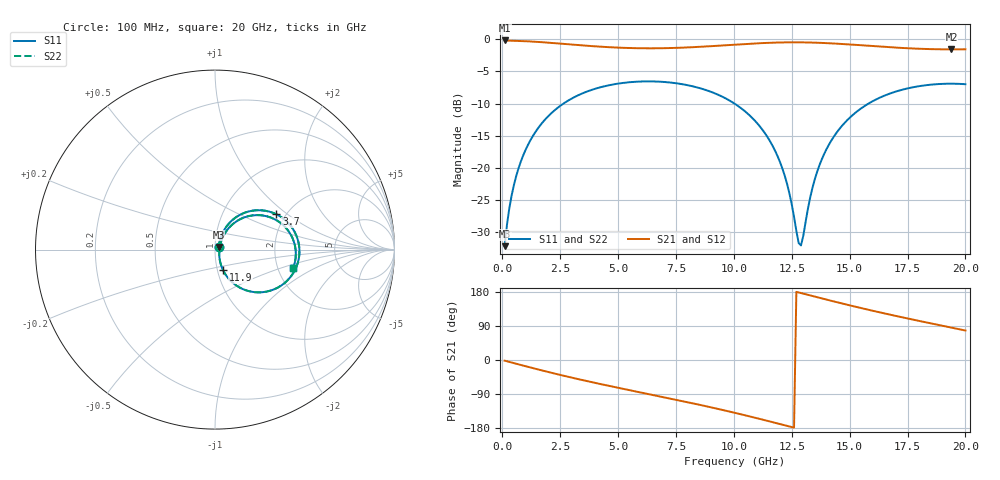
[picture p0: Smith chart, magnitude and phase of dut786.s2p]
! Touchstone file exported from HFSS 2026.1.0
!  File:  C:/ffzhzh/LocalFiles/Ansys_Project_Files/temp_train_TSV_RDL_786_1783260752_38704.aedt
!  Generated:  10:26:49 PM Jul  5, 2026
!  Design:  TSV_RDL
!  Project:  temp_train_TSV_RDL_786_1783260752_38704
! Variables:
!  h_bsmrdl = 5.27um
!  h_ox = 20um
!  h_rdl = 5um
!  h_sub = 80.8um
!  h_tmrdl = 4.65um
!  h_tsv = 80.8um
!  h_via = 3um
!  l_bsmrdl = 353.88um
!  l_sub = 4825.46um
!  l_tmrdl = 806.74um
!  m_sub = 200um
!  pitch = 44.85um
!  r_tsv = 3.45um
!  s_tmrdl = 10um
!  w_bsmrdl = 19.35um
!  w_sub = 500um
!  w_tmrdl = 26.27um
!  x_tsv_center1 = 819.875um
!  x_tsv_center2 = 1193.105um
!  x_tsv_center3 = 2026.115um
!  x_tsv_center4 = 2399.345um
!  x_tsv_center5 = 3232.355um
!  x_tsv_center6 = 3605.585um
# GHz S MA R 50.000000
! Terminal data exported
! Port[1] = TM_RDL1_1_T1
! Port[2] = TM_RDL5_1_T1
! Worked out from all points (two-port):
!   200 points, 100 MHz to 20 GHz, reference 50 ohm
!   highest |S21| = -0.17 dB at 100 MHz (marker M1); lowest = -1.6 dB at 19.4 GHz (marker M2)
!   |S21| within 3 dB of the highest: start of sweep to end of sweep
!   lowest |S11| = -32.2 dB at 100 MHz (marker M3), VSWR 1.05, Z = 52 + j1.52 ohm
!   |S11| at or under -10 dB: start of sweep to 2.645 GHz; 10.03 GHz to 15.82 GHz (5.794 GHz wide, 44.8 % of centre)
!   |S22| runs from -32.2 to -6.5 dB; largest |S21 - S12| = 2.5e-14
!   S11 on the Smith chart (normalised r, x): 100 MHz: 1.04, +0.03; 3.7 GHz: 1.79, +0.83; 11.9 GHz: 1.06, -0.24; 20 GHz: 2.43, -0.62
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0.1  0.02446 36.7  0.9807 -1.7  0.9807 -1.7  0.02446 36.7
! Gamma 0 0 0 0
! Port Impedance 50 0 50 0
0.3  0.04787 58.9  0.9781 -5.0  0.9781 -5.0  0.04787 58.9
0.5  0.0731 64.3  0.9757 -8.3  0.9757 -8.3  0.0731 64.3
1.1  0.1495 63.2  0.9657 -17.9  0.9657 -17.9  0.1495 63.2
2.1  0.2641 51.1  0.9392 -33.4  0.9392 -33.4  0.2641 51.1
3.5  0.3821 32.5  0.8961 -53.5  0.8961 -53.5  0.3821 32.5
3.7  0.3947 29.9  0.8905 -56.2  0.8905 -56.2  0.3947 29.9
5.3  0.4597 9.9  0.8583 -77.1  0.8583 -77.1  0.4597 9.9
6.8  0.4681 -8.1  0.8527 -96.0  0.8527 -96.0  0.4681 -8.1
8.6  0.4133 -30.1  0.8763 -119.3  0.8763 -119.3  0.4133 -30.1
10.1  0.3099 -49.2  0.9113 -140.2  0.9113 -140.2  0.3098 -49.2
11.1  0.2123 -61.6  0.9332 -155.1  0.9332 -155.1  0.2122 -61.6
11.9  0.1217 -68.6  0.9449 -167.5  0.9449 -167.5  0.1216 -68.7
12.3  0.0746 -67.2  0.9478 -173.8  0.9478 -173.8  0.07452 -67.3
12.8  0.02586 -22.9  0.9482 178.2  0.9482 178.2  0.02566 -23.0
12.9  0.0248 3.9  0.9479 176.7  0.9479 176.7  0.02461 4.1
13.4  0.0702 56.4  0.944 168.8  0.944 168.8  0.07015 56.6
13.9  0.1279 58.2  0.9369 161.0  0.9369 161.0  0.1278 58.4
14.6  0.2047 52.0  0.9225 150.2  0.9225 150.2  0.2047 52.1
16.7  0.376 26.3  0.8693 120.3  0.8693 120.3  0.3761 26.4
19.4  0.4514 -6.1  0.8356 85.4  0.8356 85.4  0.4514 -6.1
20  0.4474 -13.2  0.8373 77.8  0.8373 77.8  0.4474 -13.1
